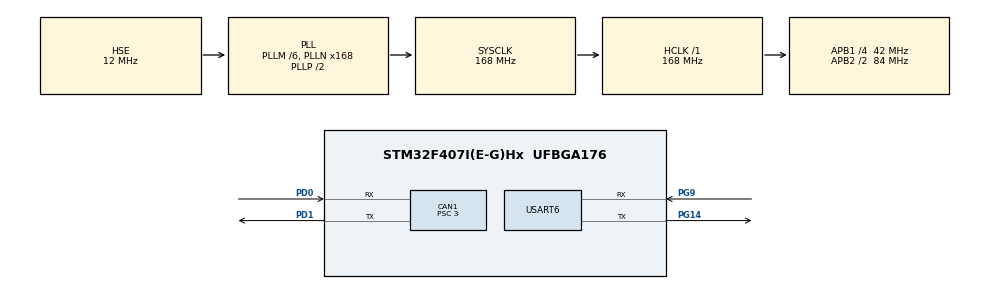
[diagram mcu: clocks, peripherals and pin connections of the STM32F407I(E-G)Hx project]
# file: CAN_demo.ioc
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CAN1.BS1=CAN_BS1_9TQ
CAN1.BS2=CAN_BS2_4TQ
CAN1.CalculateBaudRate=1000000
CAN1.CalculateTimeBit=1000
CAN1.CalculateTimeQuantum=71.42857142857143
CAN1.Prescaler=3
FREERTOS.INCLUDE_vTaskDelayUntil=1
FREERTOS.Tasks01=commTask,1,256,Comm_task,As weak,NULL,Dynamic,NULL,NULL;printTask,0,512,print,As weak,NULL,Dynamic,NULL,NULL
FREERTOS.configENABLE_FPU=1
FREERTOS.configUSE_NEWLIB_REENTRANT=1
Mcu.Family=STM32F4
Mcu.Name=STM32F407I(E-G)Hx
Mcu.Package=UFBGA176
NVIC.CAN1_RX0_IRQn=true\:5\:0\:false\:false\:true\:true\:true\:true\:true
NVIC.PriorityGroup=NVIC_PRIORITYGROUP_4
NVIC.TIM1_UP_TIM10_IRQn=true\:15\:0\:false\:false\:true\:false\:false\:true\:true
NVIC.TimeBase=TIM1_UP_TIM10_IRQn
NVIC.TimeBaseIP=TIM10
NVIC.USART6_IRQn=true\:5\:0\:false\:false\:true\:true\:true\:true\:true
PA13.Mode=Serial_Wire
PA13.Signal=SYS_JTMS-SWDIO
PA14.Mode=Serial_Wire
PA14.Signal=SYS_JTCK-SWCLK
PD0.Mode=CAN_Activate
PD0.Signal=CAN1_RX
PD1.Mode=CAN_Activate
PD1.Signal=CAN1_TX
PG14.Mode=Asynchronous
PG14.Signal=USART6_TX
PG9.Mode=Asynchronous
PG9.Signal=USART6_RX
PH0-OSC_IN.Mode=HSE-External-Oscillator
PH0-OSC_IN.Signal=RCC_OSC_IN
PH1-OSC_OUT.Mode=HSE-External-Oscillator
PH1-OSC_OUT.Signal=RCC_OSC_OUT
ProjectManager.HeapSize=0x200
ProjectManager.StackSize=0x400
ProjectManager.TargetToolchain=CMake
RCC.48MHZClocksFreq_Value=84000000
RCC.AHBFreq_Value=168000000
RCC.APB1CLKDivider=RCC_HCLK_DIV4
RCC.APB1Freq_Value=42000000
RCC.APB1TimFreq_Value=84000000
RCC.APB2CLKDivider=RCC_HCLK_DIV2
RCC.APB2Freq_Value=84000000
RCC.APB2TimFreq_Value=168000000
RCC.CortexFreq_Value=168000000
RCC.HCLKFreq_Value=168000000
RCC.HSE_VALUE=12000000
RCC.HSI_VALUE=16000000
RCC.LSE_VALUE=32768
RCC.PLLM=6
RCC.PLLN=168
RCC.PLLSourceVirtual=RCC_PLLSOURCE_HSE
RCC.SYSCLKFreq_VALUE=168000000
RCC.SYSCLKSource=RCC_SYSCLKSOURCE_PLLCLK
RCC.VCOOutputFreq_Value=336000000
USART6.VirtualMode=VM_ASYNC
VP_FREERTOS_VS_CMSIS_V1.Mode=CMSIS_V1
VP_SYS_VS_tim10.Mode=TIM10
board=custom

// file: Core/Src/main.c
/* USER CODE BEGIN Header */
/**
  ******************************************************************************
  * @file           : main.c
  * @brief          : Main program body
  ******************************************************************************
  * @attention
  *
  * Copyright (c) 2026 STMicroelectronics.
  * All rights reserved.
  *
  * This software is licensed under terms that can be found in the LICENSE file
  * in the root directory of this software component.
  * If no LICENSE file comes with this software, it is provided AS-IS.
  *
  ******************************************************************************
  */
/* USER CODE END Header */
#include "main.h"
#include "cmsis_os.h"

/* USER CODE BEGIN Includes */
#include "canio.h"
#include "board_comm.h"
#include "task.h"
#include "vofa.h"
/* USER CODE END Includes */

CAN_HandleTypeDef hcan1;

UART_HandleTypeDef huart6;

osThreadId commTaskHandle;
osThreadId printTaskHandle;

void SystemClock_Config(void);
static void MX_GPIO_Init(void);
static void MX_USART6_UART_Init(void);
static void MX_CAN1_Init(void);
void Comm_task(void const * argument);
void print(void const * argument);

int main(void)
{

  /* MCU Configuration--------------------------------------------------------*/

  /* Reset of all peripherals, Initializes the Flash interface and the Systick. */
  HAL_Init();

  /* Configure the system clock */
  SystemClock_Config();

  /* Initialize all configured peripherals */
  MX_GPIO_Init();
  MX_USART6_UART_Init();
  MX_CAN1_Init();
  /* USER CODE BEGIN 2 */

  BoardComm_Init();

  /* 初始化 CAN 通信模块（配置滤波器、启动外设、使能中断） */
  canio_init();

  /* USART6：PG14 = TX，PG9 = RX，115200 8N1。 */
  if (VOFA_Init(&vofa, &huart6) != HAL_OK)
  {
    Error_Handler();
  }

  /* USER CODE END 2 */

  /* Create the thread(s) */
  /* definition and creation of commTask */
  osThreadDef(commTask, Comm_task, osPriorityAboveNormal, 0, 256);
  commTaskHandle = osThreadCreate(osThread(commTask), NULL);

  /* definition and creation of printTask */
  osThreadDef(printTask, print, osPriorityNormal, 0, 512);
  printTaskHandle = osThreadCreate(osThread(printTask), NULL);

  /* Start scheduler */
  osKernelStart();

  /* We should never get here as control is now taken by the scheduler */

  /* Infinite loop */
  while (1)
  {

  }
}

void SystemClock_Config(void)
{
  RCC_OscInitTypeDef RCC_OscInitStruct = {0};
  RCC_ClkInitTypeDef RCC_ClkInitStruct = {0};

  /** Configure the main internal regulator output voltage
  */
  __HAL_RCC_PWR_CLK_ENABLE();
  __HAL_PWR_VOLTAGESCALING_CONFIG(PWR_REGULATOR_VOLTAGE_SCALE1);

  /** Initializes the RCC Oscillators according to the specified parameters
  * in the RCC_OscInitTypeDef structure.
  */
  RCC_OscInitStruct.OscillatorType = RCC_OSCILLATORTYPE_HSE;
  RCC_OscInitStruct.HSEState = RCC_HSE_ON;
  RCC_OscInitStruct.PLL.PLLState = RCC_PLL_ON;
  RCC_OscInitStruct.PLL.PLLSource = RCC_PLLSOURCE_HSE;
  RCC_OscInitStruct.PLL.PLLM = 6;
  RCC_OscInitStruct.PLL.PLLN = 168;
  RCC_OscInitStruct.PLL.PLLP = RCC_PLLP_DIV2;
  RCC_OscInitStruct.PLL.PLLQ = 4;
  if (HAL_RCC_OscConfig(&RCC_OscInitStruct) != HAL_OK)
  {
    Error_Handler();
  }

  /** Initializes the CPU, AHB and APB buses clocks
  */
  RCC_ClkInitStruct.ClockType = RCC_CLOCKTYPE_HCLK|RCC_CLOCKTYPE_SYSCLK
                              |RCC_CLOCKTYPE_PCLK1|RCC_CLOCKTYPE_PCLK2;
  RCC_ClkInitStruct.SYSCLKSource = RCC_SYSCLKSOURCE_PLLCLK;
  RCC_ClkInitStruct.AHBCLKDivider = RCC_SYSCLK_DIV1;
  RCC_ClkInitStruct.APB1CLKDivider = RCC_HCLK_DIV4;
  RCC_ClkInitStruct.APB2CLKDivider = RCC_HCLK_DIV2;

  if (HAL_RCC_ClockConfig(&RCC_ClkInitStruct, FLASH_LATENCY_5) != HAL_OK)
  {
    Error_Handler();
  }
}

static void MX_CAN1_Init(void)
{

  hcan1.Instance = CAN1;
  hcan1.Init.Prescaler = 3;
  hcan1.Init.Mode = CAN_MODE_NORMAL;
  hcan1.Init.SyncJumpWidth = CAN_SJW_1TQ;
  hcan1.Init.TimeSeg1 = CAN_BS1_9TQ;
  hcan1.Init.TimeSeg2 = CAN_BS2_4TQ;
  hcan1.Init.TimeTriggeredMode = DISABLE;
  hcan1.Init.AutoBusOff = DISABLE;
  hcan1.Init.AutoWakeUp = DISABLE;
  hcan1.Init.AutoRetransmission = DISABLE;
  hcan1.Init.ReceiveFifoLocked = DISABLE;
  hcan1.Init.TransmitFifoPriority = DISABLE;
  if (HAL_CAN_Init(&hcan1) != HAL_OK)
  {
    Error_Handler();
  }

}

static void MX_USART6_UART_Init(void)
{

  huart6.Instance = USART6;
  huart6.Init.BaudRate = 115200;
  huart6.Init.WordLength = UART_WORDLENGTH_8B;
  huart6.Init.StopBits = UART_STOPBITS_1;
  huart6.Init.Parity = UART_PARITY_NONE;
  huart6.Init.Mode = UART_MODE_TX_RX;
  huart6.Init.HwFlowCtl = UART_HWCONTROL_NONE;
  huart6.Init.OverSampling = UART_OVERSAMPLING_16;
  if (HAL_UART_Init(&huart6) != HAL_OK)
  {
    Error_Handler();
  }

}

static void MX_GPIO_Init(void)
{

  /* GPIO Ports Clock Enable */
  __HAL_RCC_GPIOG_CLK_ENABLE();
  __HAL_RCC_GPIOA_CLK_ENABLE();
  __HAL_RCC_GPIOD_CLK_ENABLE();
  __HAL_RCC_GPIOH_CLK_ENABLE();

}

/* USER CODE BEGIN Header_Comm_task */
/**
* @brief 每10 ms处理一次双板通信状态机。
* @param argument: Not used
* @retval None
*/
/* USER CODE END Header_Comm_task */
__weak void Comm_task(void const * argument)
{
  /* USER CODE BEGIN 5 */
  TickType_t last_wake_time = xTaskGetTickCount();
  const TickType_t period = pdMS_TO_TICKS(10U);

  for(;;)
  {
    /* 推进角色分配、心跳、请求和回复状态机。 */
    BoardComm_Process(HAL_GetTick());
    vTaskDelayUntil(&last_wake_time, period);
  }
  /* USER CODE END 5 */
}

/* USER CODE BEGIN Header_print */
/**
* @brief 每20 ms处理串口命令并输出A板汇总遥测。
* @param argument: Not used
* @retval None
*/
/* USER CODE END Header_print */
__weak void print(void const * argument)
{
  /* USER CODE BEGIN print */
  TickType_t last_wake_time = xTaskGetTickCount();
  const TickType_t period = pdMS_TO_TICKS(20U);

  for(;;)
  {
    VOFA_Process(&vofa);
    (void)VOFA_SendTelemetry(&vofa, HAL_GetTick());
    vTaskDelayUntil(&last_wake_time, period);
  }
  /* USER CODE END print */
}

void HAL_TIM_PeriodElapsedCallback(TIM_HandleTypeDef *htim)
{
  if (htim->Instance == TIM10)
  {
    HAL_IncTick();
  }
}

void Error_Handler(void)
{
  __disable_irq();
  while (1)
  {
  }
}
